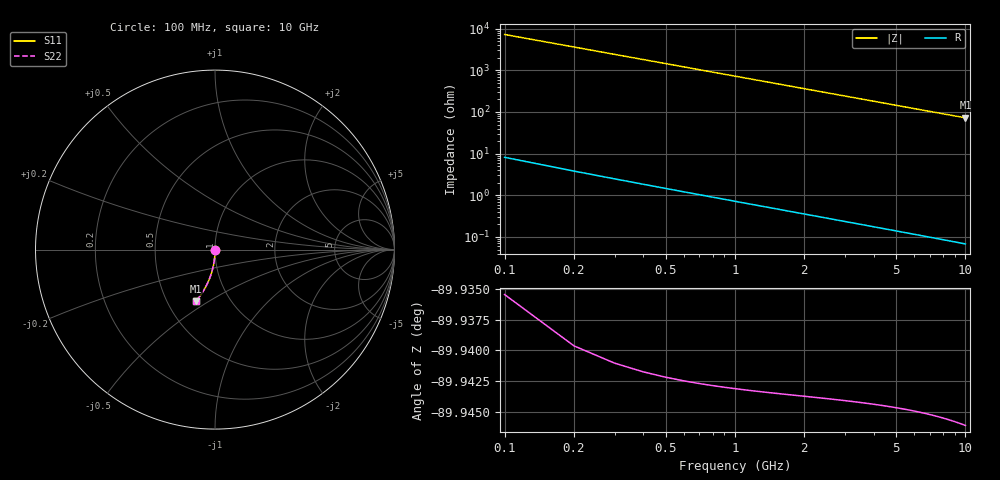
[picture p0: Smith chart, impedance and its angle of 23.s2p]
# Hz S RI R 50.00
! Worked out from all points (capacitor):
!   100 points, 100 MHz to 10 GHz, reference 50 ohm
!   read as one part in shunt: C = 220 fF near 100 MHz
!   lowest |Z| = 72.4 ohm at 10 GHz (marker M1)
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1e8  0.000126 -0.00324  0.9998 -0.00366  0.9998 -0.00366  0.000126 -0.00324
2e8  8.78e-05 -0.00648  0.9998 -0.00732  0.9998 -0.00732  8.78e-05 -0.00648
3e8  2.58e-05 -0.00972  0.9997 -0.011  0.9997 -0.011  2.58e-05 -0.00972
4e8  -6e-05 -0.013  0.9997 -0.0146  0.9997 -0.0146  -6e-05 -0.013
5e8  -0.00017 -0.0162  0.9995 -0.0183  0.9995 -0.0183  -0.00017 -0.0162
6e8  -0.000303 -0.0194  0.9994 -0.022  0.9994 -0.022  -0.000303 -0.0194
7e8  -0.00046 -0.0227  0.9992 -0.0256  0.9992 -0.0256  -0.00046 -0.0227
8e8  -0.000641 -0.0259  0.9991 -0.0293  0.9991 -0.0293  -0.000641 -0.0259
9e8  -0.000845 -0.0291  0.9989 -0.0329  0.9989 -0.0329  -0.000845 -0.0291
1.1e9  -0.00132 -0.0356  0.9984 -0.0402  0.9984 -0.0402  -0.00132 -0.0356
1.4e9  -0.00222 -0.0453  0.9975 -0.0512  0.9975 -0.0512  -0.00222 -0.0453
1.8e9  -0.00374 -0.0581  0.9959 -0.0657  0.9959 -0.0657  -0.00374 -0.0581
2.1e9  -0.00513 -0.0677  0.9945 -0.0765  0.9945 -0.0765  -0.00513 -0.0677
2.5e9  -0.0073 -0.0804  0.9923 -0.091  0.9923 -0.091  -0.0073 -0.0804
2.9e9  -0.00984 -0.093  0.9898 -0.1053  0.9898 -0.1053  -0.00984 -0.093
3.4e9  -0.0135 -0.1087  0.9861 -0.123  0.9861 -0.123  -0.0135 -0.1087
4.2e9  -0.0206 -0.1333  0.979 -0.1511  0.979 -0.1511  -0.0206 -0.1333
5.1e9  -0.0301 -0.1603  0.9694 -0.1819  0.9694 -0.1819  -0.0301 -0.1603
5.9e9  -0.0399 -0.1836  0.9594 -0.2085  0.9594 -0.2085  -0.0399 -0.1836
6.7e9  -0.051 -0.2061  0.9483 -0.2344  0.9483 -0.2344  -0.051 -0.2061
8.4e9  -0.0782 -0.2509  0.9209 -0.2865  0.9209 -0.2865  -0.0782 -0.2509
1e10  -0.1076 -0.2889  0.8912 -0.3314  0.8912 -0.3314  -0.1076 -0.2889
